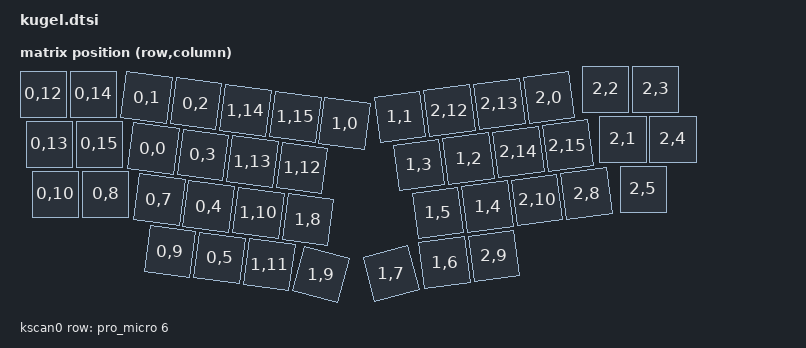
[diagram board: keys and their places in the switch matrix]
/*
 * Copyright (c) 2024 The ZMK Contributors
 * SPDX-License-Identifier: MIT
 */

#include <dt-bindings/zmk/matrix_transform.h>
#include <physical_layouts.dtsi>

/ {
	chosen {
		zmk,kscan = &kscan0;
		zmk,physical-layout = &physical_layout0;
	};

	default_transform: keymap_transform_0 {
		compatible = "zmk,matrix-transform";
		columns = <16>;
		rows = <3>;
		/* 43 physical keys matching 100% exact 1-indexed QMK MATRIX_LAYOUT */
		map = <
			/* Row 0 (13 keys) */
			RC(0,12) RC(0,14) RC(0,1)  RC(0,2)  RC(1,14) RC(1,15) RC(1,0)  RC(1,1)  RC(2,12) RC(2,13) RC(2,0)  RC(2,2)  RC(2,3)
			/* Row 1 (12 keys) */
			RC(0,13) RC(0,15) RC(0,0)  RC(0,3)  RC(1,13) RC(1,12) RC(1,3)  RC(1,2)  RC(2,14) RC(2,15) RC(2,1)  RC(2,4)
			/* Row 2 (11 keys) */
			RC(0,10) RC(0,8)  RC(0,7)  RC(0,4)  RC(1,10) RC(1,8)  RC(1,5)  RC(1,4)  RC(2,10) RC(2,8)  RC(2,5)
			/* Thumbs (7 keys) */
			                  RC(0,9)  RC(0,5)  RC(1,11) RC(1,9)  RC(1,7)  RC(1,6)  RC(2,9)
		>;
	};

	physical_layout0: physical_layout_0 {
		compatible = "zmk,physical-layout";
		display-name = "Default";
		transform = <&default_transform>;
		kscan = <&kscan0>;
		keys
			/* Row 0 (13 keys) */
			= <&key_physical_attrs 100 100 0 10 0 0 0> /* RC(0,12) */
			, <&key_physical_attrs 100 100 100 10 0 0 0> /* RC(0,14) */
			, <&key_physical_attrs 100 100 213 25 750 325 25> /* RC(0,1) */
			, <&key_physical_attrs 100 100 313 25 750 325 25> /* RC(0,2) */
			, <&key_physical_attrs 100 100 413 25 750 325 25> /* RC(1,14) */
			, <&key_physical_attrs 100 100 513 25 750 325 25> /* RC(1,15) */
			, <&key_physical_attrs 100 100 613 25 750 325 25> /* RC(1,0) */
			, <&key_physical_attrs 100 100 700 113 (-750) 325 25> /* RC(1,1) */
			, <&key_physical_attrs 100 100 800 113 (-750) 325 25> /* RC(2,12) */
			, <&key_physical_attrs 100 100 900 113 (-750) 325 25> /* RC(2,13) */
			, <&key_physical_attrs 100 100 1000 113 (-750) 325 25> /* RC(2,0) */
			, <&key_physical_attrs 100 100 1125 0 0 0 0> /* RC(2,2) */
			, <&key_physical_attrs 100 100 1225 0 0 0 0> /* RC(2,3) */

			/* Row 1 (12 keys) */
			, <&key_physical_attrs 100 100 13 110 0 0 0> /* RC(0,13) */
			, <&key_physical_attrs 100 100 113 110 0 0 0> /* RC(0,15) */
			, <&key_physical_attrs 100 100 240 125 750 325 25> /* RC(0,0) */
			, <&key_physical_attrs 100 100 340 125 750 325 25> /* RC(0,3) */
			, <&key_physical_attrs 100 100 440 125 750 325 25> /* RC(1,13) */
			, <&key_physical_attrs 100 100 540 125 750 325 25> /* RC(1,12) */
			, <&key_physical_attrs 100 100 725 213 (-750) 325 25> /* RC(1,3) */
			, <&key_physical_attrs 100 100 825 213 (-750) 325 25> /* RC(1,2) */
			, <&key_physical_attrs 100 100 925 213 (-750) 325 25> /* RC(2,14) */
			, <&key_physical_attrs 100 100 1025 213 (-750) 325 25> /* RC(2,15) */
			, <&key_physical_attrs 100 100 1160 100 0 0 0> /* RC(2,1) */
			, <&key_physical_attrs 100 100 1260 100 0 0 0> /* RC(2,4) */

			/* Row 2 (11 keys) */
			, <&key_physical_attrs 100 100 25 210 0 0 0> /* RC(0,10) */
			, <&key_physical_attrs 100 100 125 210 0 0 0> /* RC(0,8) */
			, <&key_physical_attrs 100 100 265 225 750 325 25> /* RC(0,7) */
			, <&key_physical_attrs 100 100 365 225 750 325 25> /* RC(0,4) */
			, <&key_physical_attrs 100 100 465 225 750 325 25> /* RC(1,10) */
			, <&key_physical_attrs 100 100 565 225 750 325 25> /* RC(1,8) */
			, <&key_physical_attrs 100 100 750 313 (-750) 325 25> /* RC(1,5) */
			, <&key_physical_attrs 100 100 850 313 (-750) 325 25> /* RC(1,4) */
			, <&key_physical_attrs 100 100 950 313 (-750) 325 25> /* RC(2,10) */
			, <&key_physical_attrs 100 100 1050 313 (-750) 325 25> /* RC(2,8) */
			, <&key_physical_attrs 100 100 1200 200 0 0 0> /* RC(2,5) */

			/* Thumbs (7 keys) */
			, <&key_physical_attrs 100 100 300 325 750 325 25> /* RC(0,9) */
			, <&key_physical_attrs 100 100 400 325 750 325 25> /* RC(0,5) */
			, <&key_physical_attrs 100 100 500 325 750 325 25> /* RC(1,11) */
			, <&key_physical_attrs 100 100 565 395 1500 700 400> /* RC(1,9) */
			, <&key_physical_attrs 100 100 690 380 (-1500) 700 400> /* RC(1,7) */
			, <&key_physical_attrs 100 100 750 413 (-750) 325 25> /* RC(1,6) */
			, <&key_physical_attrs 100 100 850 413 (-750) 325 25> /* RC(2,9) */
			;
	};

	trackball_paw: trackball_paw {
		compatible = "bto,paw3204";
		sclk-gpios = <&pro_micro 3 GPIO_ACTIVE_HIGH>;
		data-gpios = <&pro_micro 2 (GPIO_ACTIVE_HIGH | GPIO_PULL_UP)>;
		cs-gpios = <&pro_micro 10 GPIO_ACTIVE_LOW>;
		pow-gpios = <&pro_micro 7 GPIO_ACTIVE_LOW>;
	};

	trackball_listener: trackball_listener {
		compatible = "zmk,input-listener";
		device = <&trackball_paw>;
	};

	behaviors {
		tb: behavior_trackball {
			compatible = "zmk,behavior-trackball";
			#binding-cells = <1>;
		};
	};
};

&pro_micro_spi {
	status = "okay";
	cs-gpios = <&pro_micro 19 GPIO_ACTIVE_LOW>;

	kscan0: kscan@0 {
		compatible = "zmk,kscan-kugel";
		reg = <0>;
		spi-max-frequency = <500000>;
		wakeup-source;
		reset-gpios = <&pro_micro 5 GPIO_ACTIVE_HIGH>;
		row-gpios = <&pro_micro 6 GPIO_ACTIVE_HIGH>;
		int-gpios = <&pro_micro 8 (GPIO_ACTIVE_LOW | GPIO_PULL_UP)>;
	};
};

